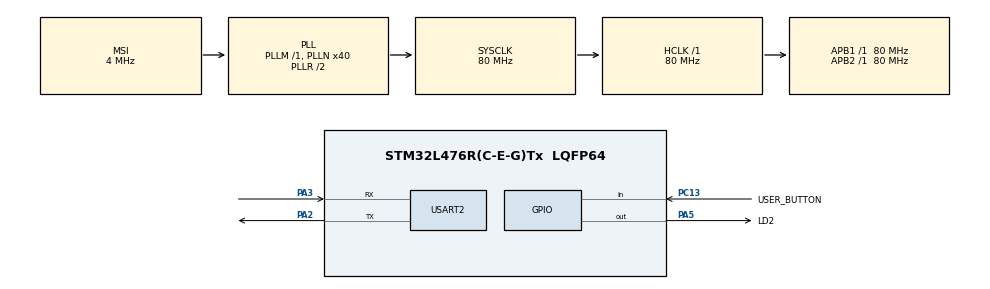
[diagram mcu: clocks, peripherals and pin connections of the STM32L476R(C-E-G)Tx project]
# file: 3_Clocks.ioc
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Mcu.Family=STM32L4
Mcu.Name=STM32L476R(C-E-G)Tx
Mcu.Package=LQFP64
NVIC.PriorityGroup=NVIC_PRIORITYGROUP_4
PA13\ (JTMS-SWDIO).Mode=Serial_Wire
PA13\ (JTMS-SWDIO).Signal=SYS_JTMS-SWDIO
PA14\ (JTCK-SWCLK).Mode=Serial_Wire
PA14\ (JTCK-SWCLK).Signal=SYS_JTCK-SWCLK
PA2.Mode=Asynchronous
PA2.Signal=USART2_TX
PA3.Mode=Asynchronous
PA3.Signal=USART2_RX
PA5.GPIO_Label=LD2
PA5.Signal=GPIO_Output
PC13.GPIO_Label=USER_BUTTON
PC13.Signal=GPIO_Input
PC14-OSC32_IN\ (PC14).Mode=LSE-External-Oscillator
PC14-OSC32_IN\ (PC14).Signal=RCC_OSC32_IN
PC15-OSC32_OUT\ (PC15).Mode=LSE-External-Oscillator
PC15-OSC32_OUT\ (PC15).Signal=RCC_OSC32_OUT
ProjectManager.HeapSize=0x200
ProjectManager.StackSize=0x400
ProjectManager.TargetToolchain=STM32CubeIDE
RCC.AHBFreq_Value=80000000
RCC.APB1Freq_Value=80000000
RCC.APB1TimFreq_Value=80000000
RCC.APB2Freq_Value=80000000
RCC.APB2TimFreq_Value=80000000
RCC.CortexFreq_Value=80000000
RCC.HCLKFreq_Value=80000000
RCC.HSE_VALUE=8000000
RCC.HSI_VALUE=16000000
RCC.MSI_VALUE=4000000
RCC.PLLN=40
RCC.RTCClockSelection=RCC_RTCCLKSOURCE_LSE
RCC.SYSCLKFreq_VALUE=80000000
RCC.SYSCLKSource=RCC_SYSCLKSOURCE_PLLCLK
RCC.VCOOutputFreq_Value=160000000
USART2.VirtualMode-Asynchronous=VM_ASYNC
VP_RTC_VS_RTC_Activate.Mode=RTC_Enabled
board=custom

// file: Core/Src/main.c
/* USER CODE BEGIN Header */
/**
  ******************************************************************************
  * @file           : main.c
  * @brief          : Main program body
  ******************************************************************************
  * @attention
  *
  * Copyright (c) 2024 STMicroelectronics.
  * All rights reserved.
  *
  * This software is licensed under terms that can be found in the LICENSE file
  * in the root directory of this software component.
  * If no LICENSE file comes with this software, it is provided AS-IS.
  *
  ******************************************************************************
  */
/* USER CODE END Header */
#include "main.h"

/* USER CODE BEGIN Includes */
#include <stdio.h>
#include <string.h>
#include <stdbool.h>
/* USER CODE END Includes */

RTC_HandleTypeDef hrtc;

UART_HandleTypeDef huart2;

void SystemClock_Config(void);
static void MX_GPIO_Init(void);
static void MX_RTC_Init(void);
static void MX_USART2_UART_Init(void);

/* USER CODE BEGIN 0 */
//Funkcja do wysylania danych przez UART przez printf:
int __io_putchar(int ch) {
	if(ch == '\n') {
		uint8_t ch2 = '\r';
		HAL_UART_Transmit(&huart2, &ch2, 1, HAL_MAX_DELAY);
	}
	HAL_UART_Transmit(&huart2, (uint8_t*)&ch, 1, HAL_MAX_DELAY);
	return 1;
}
//Funkcja do obsługi przycisku:
bool is_button_pressed(void) {
	if(HAL_GPIO_ReadPin(USER_BUTTON_GPIO_Port, USER_BUTTON_Pin) == GPIO_PIN_RESET) {
		return true;
	}
	else {
		return false;
	}
}
/* USER CODE END 0 */

int main(void)
{

  /* MCU Configuration--------------------------------------------------------*/

  /* Reset of all peripherals, Initializes the Flash interface and the Systick. */
  HAL_Init();

  /* Configure the system clock */
  SystemClock_Config();

  /* Initialize all configured peripherals */
  MX_GPIO_Init();
  MX_RTC_Init();
  MX_USART2_UART_Init();
  /* USER CODE BEGIN 2 */
  RTC_DateTypeDef today;
  today.Year = 24;
  today.Month = 7;
  today.Date = 13;
  today.WeekDay = RTC_WEEKDAY_SATURDAY;
  HAL_RTC_SetDate(&hrtc, &today, RTC_FORMAT_BIN);
  /* USER CODE END 2 */

  /* Infinite loop */
  /* USER CODE BEGIN WHILE */
  while (1)
  {
	  RTC_TimeTypeDef time;
	  RTC_DateTypeDef date;

	  if(is_button_pressed()) {
		  RTC_TimeTypeDef new_time = {0};
		  //Czekamy na zwolnienie przycisku:
		  while(is_button_pressed()) {}

		  new_time.Hours = 14;
		  new_time.Minutes = 0;
		  new_time.Seconds = 0;
		  HAL_RTC_SetTime(&hrtc, &new_time, RTC_FORMAT_BIN);
	  }

	  HAL_RTC_GetTime(&hrtc, &time, RTC_FORMAT_BIN);
	  HAL_RTC_GetDate(&hrtc, &date, RTC_FORMAT_BIN);

	  printf("RTC: %04d-%02d-%02d, %02d:%02d:%02d\n", 2000 + date.Year, date.Month, date.Date, time.Hours, time.Minutes, time.Seconds);
	  HAL_Delay(200);
    /* USER CODE END WHILE */

  }
}

void SystemClock_Config(void)
{
  RCC_OscInitTypeDef RCC_OscInitStruct = {0};
  RCC_ClkInitTypeDef RCC_ClkInitStruct = {0};

  /** Configure the main internal regulator output voltage
  */
  if (HAL_PWREx_ControlVoltageScaling(PWR_REGULATOR_VOLTAGE_SCALE1) != HAL_OK)
  {
    Error_Handler();
  }

  /** Configure LSE Drive Capability
  */
  HAL_PWR_EnableBkUpAccess();
  __HAL_RCC_LSEDRIVE_CONFIG(RCC_LSEDRIVE_LOW);

  /** Initializes the RCC Oscillators according to the specified parameters
  * in the RCC_OscInitTypeDef structure.
  */
  RCC_OscInitStruct.OscillatorType = RCC_OSCILLATORTYPE_LSE|RCC_OSCILLATORTYPE_MSI;
  RCC_OscInitStruct.LSEState = RCC_LSE_ON;
  RCC_OscInitStruct.MSIState = RCC_MSI_ON;
  RCC_OscInitStruct.MSICalibrationValue = 0;
  RCC_OscInitStruct.MSIClockRange = RCC_MSIRANGE_6;
  RCC_OscInitStruct.PLL.PLLState = RCC_PLL_ON;
  RCC_OscInitStruct.PLL.PLLSource = RCC_PLLSOURCE_MSI;
  RCC_OscInitStruct.PLL.PLLM = 1;
  RCC_OscInitStruct.PLL.PLLN = 40;
  RCC_OscInitStruct.PLL.PLLP = RCC_PLLP_DIV7;
  RCC_OscInitStruct.PLL.PLLQ = RCC_PLLQ_DIV2;
  RCC_OscInitStruct.PLL.PLLR = RCC_PLLR_DIV2;
  if (HAL_RCC_OscConfig(&RCC_OscInitStruct) != HAL_OK)
  {
    Error_Handler();
  }

  /** Initializes the CPU, AHB and APB buses clocks
  */
  RCC_ClkInitStruct.ClockType = RCC_CLOCKTYPE_HCLK|RCC_CLOCKTYPE_SYSCLK
                              |RCC_CLOCKTYPE_PCLK1|RCC_CLOCKTYPE_PCLK2;
  RCC_ClkInitStruct.SYSCLKSource = RCC_SYSCLKSOURCE_PLLCLK;
  RCC_ClkInitStruct.AHBCLKDivider = RCC_SYSCLK_DIV1;
  RCC_ClkInitStruct.APB1CLKDivider = RCC_HCLK_DIV1;
  RCC_ClkInitStruct.APB2CLKDivider = RCC_HCLK_DIV1;

  if (HAL_RCC_ClockConfig(&RCC_ClkInitStruct, FLASH_LATENCY_4) != HAL_OK)
  {
    Error_Handler();
  }

  /** Enable MSI Auto calibration
  */
  HAL_RCCEx_EnableMSIPLLMode();
}

static void MX_RTC_Init(void)
{

  /** Initialize RTC Only
  */
  hrtc.Instance = RTC;
  hrtc.Init.HourFormat = RTC_HOURFORMAT_24;
  hrtc.Init.AsynchPrediv = 127;
  hrtc.Init.SynchPrediv = 255;
  hrtc.Init.OutPut = RTC_OUTPUT_DISABLE;
  hrtc.Init.OutPutRemap = RTC_OUTPUT_REMAP_NONE;
  hrtc.Init.OutPutPolarity = RTC_OUTPUT_POLARITY_HIGH;
  hrtc.Init.OutPutType = RTC_OUTPUT_TYPE_OPENDRAIN;
  if (HAL_RTC_Init(&hrtc) != HAL_OK)
  {
    Error_Handler();
  }

}

static void MX_USART2_UART_Init(void)
{

  huart2.Instance = USART2;
  huart2.Init.BaudRate = 115200;
  huart2.Init.WordLength = UART_WORDLENGTH_8B;
  huart2.Init.StopBits = UART_STOPBITS_1;
  huart2.Init.Parity = UART_PARITY_NONE;
  huart2.Init.Mode = UART_MODE_TX_RX;
  huart2.Init.HwFlowCtl = UART_HWCONTROL_NONE;
  huart2.Init.OverSampling = UART_OVERSAMPLING_16;
  huart2.Init.OneBitSampling = UART_ONE_BIT_SAMPLE_DISABLE;
  huart2.AdvancedInit.AdvFeatureInit = UART_ADVFEATURE_NO_INIT;
  if (HAL_UART_Init(&huart2) != HAL_OK)
  {
    Error_Handler();
  }

}

static void MX_GPIO_Init(void)
{
  GPIO_InitTypeDef GPIO_InitStruct = {0};

  /* GPIO Ports Clock Enable */
  __HAL_RCC_GPIOC_CLK_ENABLE();
  __HAL_RCC_GPIOA_CLK_ENABLE();

  /*Configure GPIO pin Output Level */
  HAL_GPIO_WritePin(LD2_GPIO_Port, LD2_Pin, GPIO_PIN_RESET);

  /*Configure GPIO pin : USER_BUTTON_Pin */
  GPIO_InitStruct.Pin = USER_BUTTON_Pin;
  GPIO_InitStruct.Mode = GPIO_MODE_INPUT;
  GPIO_InitStruct.Pull = GPIO_NOPULL;
  HAL_GPIO_Init(USER_BUTTON_GPIO_Port, &GPIO_InitStruct);

  /*Configure GPIO pin : LD2_Pin */
  GPIO_InitStruct.Pin = LD2_Pin;
  GPIO_InitStruct.Mode = GPIO_MODE_OUTPUT_PP;
  GPIO_InitStruct.Pull = GPIO_NOPULL;
  GPIO_InitStruct.Speed = GPIO_SPEED_FREQ_LOW;
  HAL_GPIO_Init(LD2_GPIO_Port, &GPIO_InitStruct);

}

void Error_Handler(void)
{
  __disable_irq();
  while (1)
  {
  }
}
